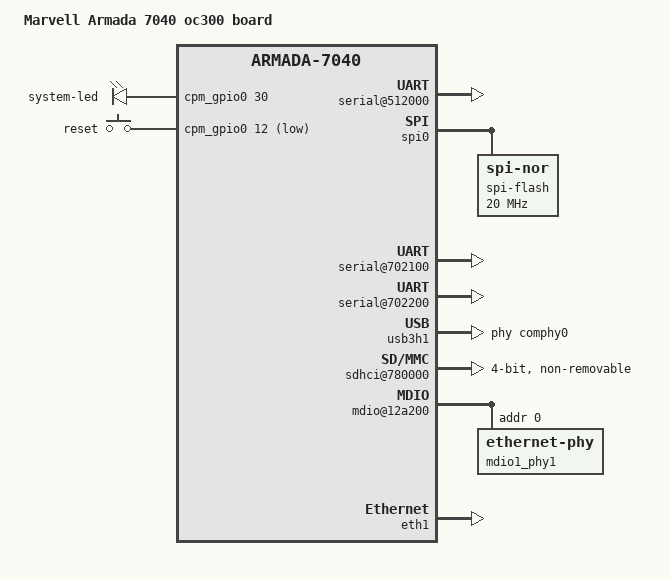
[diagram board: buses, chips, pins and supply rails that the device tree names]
/*
 * Copyright (C) 2017 Marvell Technology Group Ltd.
 *
 * This file is dual-licensed: you can use it either under the terms
 * of the GPLv2 or the X11 license, at your option. Note that this dual
 * licensing only applies to this file, and not this project as a
 * whole.
 *
 *  a) This library is free software; you can redistribute it and/or
 *     modify it under the terms of the GNU General Public License as
 *     published by the Free Software Foundation; either version 2 of the
 *     License, or (at your option) any later version.
 *
 *     This library is distributed in the hope that it will be useful,
 *     but WITHOUT ANY WARRANTY; without even the implied warranty of
 *     MERCHANTABILITY or FITNESS FOR A PARTICULAR PURPOSE.  See the
 *     GNU General Public License for more details.
 *
 * Or, alternatively,
 *
 *  b) Permission is hereby granted, free of charge, to any person
 *     obtaining a copy of this software and associated documentation
 *     files (the "Software"), to deal in the Software without
 *     restriction, including without limitation the rights to use,
 *     copy, modify, merge, publish, distribute, sublicense, and/or
 *     sell copies of the Software, and to permit persons to whom the
 *     Software is furnished to do so, subject to the following
 *     conditions:
 *
 *     The above copyright notice and this permission notice shall be
 *     included in all copies or substantial portions of the Software.
 *
 *     THE SOFTWARE IS PROVIDED "AS IS", WITHOUT WARRANTY OF ANY KIND,
 *     EXPRESS OR IMPLIED, INCLUDING BUT NOT LIMITED TO THE WARRANTIES
 *     OF MERCHANTABILITY, FITNESS FOR A PARTICULAR PURPOSE AND
 *     NONINFRINGEMENT. IN NO EVENT SHALL THE AUTHORS OR COPYRIGHT
 *     HOLDERS BE LIABLE FOR ANY CLAIM, DAMAGES OR OTHER LIABILITY,
 *     WHETHER IN AN ACTION OF CONTRACT, TORT OR OTHERWISE, ARISING
 *     FROM, OUT OF OR IN CONNECTION WITH THE SOFTWARE OR THE USE OR
 *     OTHER DEALINGS IN THE SOFTWARE.
 */

/*  * Device Tree file for OC300 board */

#include "armada-7040-db.dtsi"

/ {
	model = "Marvell Armada 7040 oc300 board";
	compatible = "marvell,armada7040-db-A", "marvell,armada7040-db", "marvell,armada7040",
			"marvell,armada-ap806-quad", "marvell,armada-ap806", "marvell,armada-7040-oc300";
	#address-cells = <2>;
	#size-cells = <2>;

	chosen { };

	ap806 {
		config-space {
			serial@512000 {
				status = "okay";
			};
			sdhci@6e0000 {
				status = "disabled";
			};
			i2c@511000 {
				status = "disabled";
			};

			spi0: spi@510600 {
				status = "okay";
				spi-flash@0 {
					#address-cells = <0x1>;
					#size-cells = <0x0>;
					compatible = "jedec,spi-nor", "marvell,armada-380-spi";
					spi-max-frequency = <20000000>;
					reg = <0x510600 0x50>;
					cell-index = <0>;
					interrupts = <GIC_SPI 21 IRQ_TYPE_LEVEL_HIGH>;
					clocks = <&syscon 3>;
				};
			};
		};
	};

	cpn-110-master {
		config-space {
			pinctrl@440000 {
				system_led_pins: system-led-pins {
					marvell,pins = "mpp30";
					marvell,function = "gpio";
				};
				system_reset_pins: system-reset-pins {
					marvell,pins = "mpp12";
					marvell,function = "gpio";
				};
				system_usb_pins: system-usb-pins {
					marvell,pins = "mpp49";
					marvell,function = "gpio";
				};
			};
			sata: sata@540000 {
				status = "disabled";
				sata-port@0 {
					status = "disabled";
				};
				sata-port@1 {
					status = "disabled";
				};
			};
			spi@700680 {
				status = "disabled";
			};
			
			serial@702100 {
				status = "okay";
			};
			serial@702200 {
				status = "okay";
			};

			usb3h1: usb3@510000 {
				phys = <&comphy0 3 COMPHY_USB3H1>; 
				phy-names = "comphy";
				status = "okay";
			};

			axim-hb1-rd@3c8000 {
				status = "disabled";
			};
			axim-hb1-wr@3c9000 {
				status = "disabled";
			};

			sdhci@780000 {
				/*vqmmc-supply = <&vccq_sdio_reg>;*/
 				compatible = "marvell,armada-cp110-sdhci";
 				reg = <0x780000 0x300>;
 				interrupts = <0x0 27 4>;
 				clock-names = "core";
 				clocks = <&cpm_syscon0 1 4>;
 				dma-coherent;
 				marvell,xenon-phy-tun-step-divider = <25>;
				bus-width = <4>;
				non-removable;
				pinctrl-names = "default";
				pinctrl-0 = <&cpm_sdhci_pins>;
				status = "okay";
			};
			mdio@12a200 {
				#address-cells = <1>;
				#size-cells = <0>;
				mdio1_phy1: ethernet-phy@1 {
					reg = <0>;
				};
			};
			gop {
				emac0: mac0 {
					phy-mode = "none"; /* lane-2 */
					phys = <&comphy0 2 COMPHY_SFI>;
					phy-names = "comphy";
				};
				emac2: mac2 {
					phy-mode = "rgmii"; /* disabled */
					fixed-link {
						speed = <1000>;
						full-duplex;
					};
				};
				emac3: mac3 {
					phy-mode = "none"; /* disabled */
				};
			};
			ppv22@000000 {
				l4_chksum_jumbo_port = <1>;
				eth0: eth0@010000 {
					status = "disabled";
				};
				eth1: eth1@020000 {
					status = "okay";
				};
				eth2: eth2@030000 {
					status = "disabled";
				};
			};
			eip197: eip197@800000 {
				status = "okay";
			};
			comphy {
				status = "okay";
			};
			

		};
		pcie@0x640000 {
			status = "disabled";
		};
		pcie@0x620000 {
			status = "disabled";
		};

		gpio-leds {
			compatible = "gpio-leds";
			pinctrl-0 = <&system_led_pins>;
			pinctrl-names = "default";

			system-led {
				label = "system-led";
				gpios = <&cpm_gpio0 30 GPIO_ACTIVE_HIGH>;
				default-state = "off";
			};
		};

		gpio-keys {
			compatible = "gpio-keys";
			pinctrl-0 = <&system_reset_pins>;
			pinctrl-names = "default";

			reset-button {
				label = "reset";
				linux,code = <0x198>;
				gpios = <&cpm_gpio0 12 GPIO_ACTIVE_LOW>;
			};
		};
	};
};
